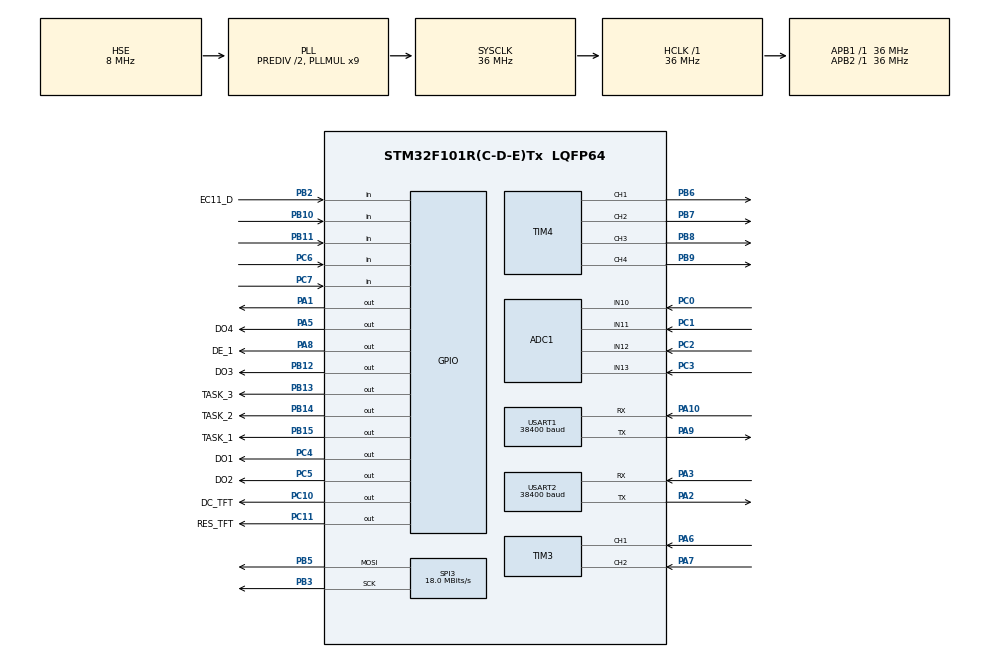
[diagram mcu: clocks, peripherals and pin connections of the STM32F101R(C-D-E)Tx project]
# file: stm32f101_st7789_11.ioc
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ADC1.Channel-8\#ChannelRegularConversion=ADC_CHANNEL_10
ADC1.ContinuousConvMode=ENABLE
ADC1.EnableInjectedConversion=DISABLE
ADC1.EnableRegularConversion=ENABLE
ADC1.InjNumberOfConversion=4
ADC1.NbrOfConversionFlag=1
ADC1.Rank-8\#ChannelRegularConversion=1
ADC1.SamplingTime-8\#ChannelRegularConversion=ADC_SAMPLETIME_1CYCLE_5
ADC1.master=1
Dma.Request0=USART2_RX
Dma.Request1=USART2_TX
Dma.Request2=SPI3_TX
Dma.SPI3_TX.2.Direction=DMA_MEMORY_TO_PERIPH
Dma.SPI3_TX.2.Instance=DMA2_Channel2
Dma.SPI3_TX.2.MemDataAlignment=DMA_MDATAALIGN_BYTE
Dma.SPI3_TX.2.MemInc=DMA_MINC_ENABLE
Dma.SPI3_TX.2.Mode=DMA_NORMAL
Dma.SPI3_TX.2.PeriphDataAlignment=DMA_PDATAALIGN_BYTE
Dma.SPI3_TX.2.PeriphInc=DMA_PINC_DISABLE
Dma.SPI3_TX.2.Priority=DMA_PRIORITY_LOW
Dma.USART2_RX.0.Direction=DMA_PERIPH_TO_MEMORY
Dma.USART2_RX.0.Instance=DMA1_Channel6
Dma.USART2_RX.0.MemDataAlignment=DMA_MDATAALIGN_BYTE
Dma.USART2_RX.0.MemInc=DMA_MINC_ENABLE
Dma.USART2_RX.0.Mode=DMA_NORMAL
Dma.USART2_RX.0.PeriphDataAlignment=DMA_PDATAALIGN_BYTE
Dma.USART2_RX.0.PeriphInc=DMA_PINC_DISABLE
Dma.USART2_RX.0.Priority=DMA_PRIORITY_LOW
Dma.USART2_TX.1.Direction=DMA_MEMORY_TO_PERIPH
Dma.USART2_TX.1.Instance=DMA1_Channel7
Dma.USART2_TX.1.MemDataAlignment=DMA_MDATAALIGN_BYTE
Dma.USART2_TX.1.MemInc=DMA_MINC_ENABLE
Dma.USART2_TX.1.Mode=DMA_NORMAL
Dma.USART2_TX.1.PeriphDataAlignment=DMA_PDATAALIGN_BYTE
Dma.USART2_TX.1.PeriphInc=DMA_PINC_DISABLE
Dma.USART2_TX.1.Priority=DMA_PRIORITY_LOW
FREERTOS.Tasks01=TFT_Task,0,256,Start_ST7789_Task,Default,NULL,Static,TFT_TaskBuffer,TFT_TaskControlBlock;EC11_Task,0,256,Start_EC11,Default,NULL,Static,EC11_TaskBuffer,EC11_TaskControlBlock;USART_2,0,128,StartUSART_2,Default,NULL,Static,USART_2Buffer,USART_2ControlBlock;AlgoritmTask,-3,512,StartAlgoritm,Default,NULL,Static,AlgoritmTaskBuffer,AlgoritmTaskControlBlock;USART_1,0,128,StartUSART_1,Default,NULL,Static,USART_1Buffer,USART_1ControlBlock
FREERTOS.Timers01=ModBus_Timeout,ModBus_TimeOut_Fun,osTimerOnce,Default,NULL,Dynamic,NULL
FREERTOS.configUSE_APPLICATION_TASK_TAG=1
FREERTOS.configUSE_IDLE_HOOK=1
FREERTOS.configUSE_NEWLIB_REENTRANT=1
FREERTOS.configUSE_TICKLESS_IDLE=1
FREERTOS.configUSE_TICK_HOOK=0
FREERTOS.configUSE_TIMERS=1
Mcu.Family=STM32F1
Mcu.Name=STM32F101R(C-D-E)Tx
Mcu.Package=LQFP64
NVIC.DMA1_Channel6_IRQn=true\:5\:0\:false\:false\:true\:true\:false\:true
NVIC.DMA1_Channel7_IRQn=true\:5\:0\:false\:false\:true\:true\:false\:true
NVIC.DMA2_Channel2_IRQn=true\:5\:0\:false\:false\:true\:true\:false\:true
NVIC.PriorityGroup=NVIC_PRIORITYGROUP_4
NVIC.SPI3_IRQn=true\:5\:0\:false\:false\:true\:true\:true\:true
NVIC.TIM6_IRQn=true\:5\:0\:false\:false\:true\:true\:true\:true
NVIC.TIM7_IRQn=true\:15\:0\:false\:false\:true\:false\:false\:true
NVIC.TimeBase=TIM7_IRQn
NVIC.TimeBaseIP=TIM7
NVIC.USART1_IRQn=true\:5\:0\:false\:false\:true\:true\:true\:true
NVIC.USART2_IRQn=true\:5\:0\:false\:false\:true\:true\:true\:true
PA1.Signal=GPIO_Output
PA10.Mode=Asynchronous
PA10.Signal=USART1_RX
PA13.Mode=Serial_Wire
PA13.Signal=SYS_JTMS-SWDIO
PA14.Mode=Serial_Wire
PA14.Signal=SYS_JTCK-SWCLK
PA2.Mode=Asynchronous
PA2.Signal=USART2_TX
PA3.Mode=Asynchronous
PA3.Signal=USART2_RX
PA5.GPIO_Label=DO4
PA5.Signal=GPIO_Output
PA6.Signal=S_TIM3_CH1
PA7.Signal=S_TIM3_CH2
PA8.GPIO_Label=DE_1
PA8.Signal=GPIO_Output
PA9.Mode=Asynchronous
PA9.Signal=USART1_TX
PB10.Signal=GPIO_Input
PB11.Signal=GPIO_Input
PB12.GPIO_Label=DO3
PB12.Signal=GPIO_Output
PB13.GPIO_Label=TASK_3
PB13.GPIO_Speed=GPIO_SPEED_FREQ_HIGH
PB13.PinState=GPIO_PIN_RESET
PB13.Signal=GPIO_Output
PB14.GPIO_Label=TASK_2
PB14.GPIO_Speed=GPIO_SPEED_FREQ_HIGH
PB14.PinState=GPIO_PIN_RESET
PB14.Signal=GPIO_Output
PB15.GPIO_Label=TASK_1
PB15.GPIO_Speed=GPIO_SPEED_FREQ_HIGH
PB15.PinState=GPIO_PIN_RESET
PB15.Signal=GPIO_Output
PB2.GPIO_Label=EC11_D
PB2.Signal=GPIO_Input
PB3.Mode=TX_Only_Simplex_Unidirect_Master
PB3.Signal=SPI3_SCK
PB5.Mode=TX_Only_Simplex_Unidirect_Master
PB5.Signal=SPI3_MOSI
PB6.Signal=S_TIM4_CH1
PB7.Signal=S_TIM4_CH2
PB8.Signal=S_TIM4_CH3
PB9.Signal=S_TIM4_CH4
PC0.Signal=ADCx_IN10
PC1.Signal=ADCx_IN11
PC10.GPIO_Label=DC_TFT
PC10.GPIO_Speed=GPIO_SPEED_FREQ_HIGH
PC10.PinState=GPIO_PIN_RESET
PC10.Signal=GPIO_Output
PC11.GPIO_Label=RES_TFT
PC11.GPIO_Speed=GPIO_SPEED_FREQ_HIGH
PC11.PinState=GPIO_PIN_RESET
PC11.Signal=GPIO_Output
PC14-OSC32_IN.Mode=LSE-External-Oscillator
PC14-OSC32_IN.Signal=RCC_OSC32_IN
PC15-OSC32_OUT.Mode=LSE-External-Oscillator
PC15-OSC32_OUT.Signal=RCC_OSC32_OUT
PC2.Signal=ADCx_IN12
PC3.Signal=ADCx_IN13
PC4.GPIO_Label=DO1
PC4.Signal=GPIO_Output
PC5.GPIO_Label=DO2
PC5.Signal=GPIO_Output
PC6.Signal=GPIO_Input
PC7.Signal=GPIO_Input
PD0-OSC_IN.Mode=HSE-External-Oscillator
PD0-OSC_IN.Signal=RCC_OSC_IN
PD1-OSC_OUT.Mode=HSE-External-Oscillator
PD1-OSC_OUT.Signal=RCC_OSC_OUT
ProjectManager.HeapSize=0x200
ProjectManager.StackSize=0x400
ProjectManager.TargetToolchain=STM32CubeIDE
RCC.ADCPresc=RCC_ADCPCLK2_DIV8
RCC.AHBFreq_Value=36000000
RCC.APB1Freq_Value=36000000
RCC.APB1TimFreq_Value=36000000
RCC.APB2Freq_Value=36000000
RCC.HCLKFreq_Value=36000000
RCC.HSEDivPLL=RCC_HSE_PREDIV_DIV2
RCC.PLLMUL=RCC_PLL_MUL9
RCC.PLLSourceVirtual=RCC_PLLSOURCE_HSE
RCC.RTCClockSelection=RCC_RTCCLKSOURCE_LSE
RCC.SYSCLKFreq_VALUE=36000000
RCC.SYSCLKSource=RCC_SYSCLKSOURCE_PLLCLK
SH.ADCx_IN10.0=ADC1_IN10,IN10
SH.ADCx_IN11.0=ADC1_IN11,IN11
SH.ADCx_IN12.0=ADC1_IN12,IN12
SH.ADCx_IN13.0=ADC1_IN13,IN13
SH.S_TIM3_CH1.0=TIM3_CH1,Encoder_Interface
SH.S_TIM3_CH2.0=TIM3_CH2,Encoder_Interface
SH.S_TIM4_CH1.0=TIM4_CH1,PWM Generation1 CH1
SH.S_TIM4_CH2.0=TIM4_CH2,PWM Generation2 CH2
SH.S_TIM4_CH3.0=TIM4_CH3,PWM Generation3 CH3
SH.S_TIM4_CH4.0=TIM4_CH4,PWM Generation4 CH4
SPI3.BaudRatePrescaler=SPI_BAUDRATEPRESCALER_2
SPI3.CLKPolarity=SPI_POLARITY_HIGH
SPI3.CalculateBaudRate=18.0 MBits/s
SPI3.DataSize=SPI_DATASIZE_8BIT
SPI3.Direction=SPI_DIRECTION_2LINES
SPI3.Mode=SPI_MODE_MASTER
SPI3.VirtualType=VM_MASTER
TIM4.Channel-PWM\ Generation1\ CH1=TIM_CHANNEL_1
TIM4.Channel-PWM\ Generation2\ CH2=TIM_CHANNEL_2
TIM4.Channel-PWM\ Generation3\ CH3=TIM_CHANNEL_3
TIM4.Channel-PWM\ Generation4\ CH4=TIM_CHANNEL_4
TIM6.AutoReloadPreload=TIM_AUTORELOAD_PRELOAD_ENABLE
TIM6.Period=1
TIM6.Prescaler=18000
TIM6.TIM_MasterOutputTrigger=TIM_TRGO_RESET
USART1.BaudRate=38400
USART1.VirtualMode=VM_ASYNC
USART2.BaudRate=38400
USART2.VirtualMode=VM_ASYNC
VP_FREERTOS_VS_CMSIS_V1.Mode=CMSIS_V1
VP_RTC_VS_RTC_Activate.Mode=RTC_Enabled
VP_SYS_VS_tim7.Mode=TIM7
VP_TIM6_VS_ClockSourceINT.Mode=Enable_Timer
VP_TIM6_VS_OPM.Mode=OPM_bit
board=custom

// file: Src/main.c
/* USER CODE BEGIN Header */
/**
  ******************************************************************************
  * @file           : main.c
  * @brief          : Main program body
  ******************************************************************************
  * @attention
  *
  * <h2><center>&copy; Copyright (c) 2023 STMicroelectronics.
  * All rights reserved.</center></h2>
  *
  * This software component is licensed by ST under BSD 3-Clause license,
  * the "License"; You may not use this file except in compliance with the
  * License. You may obtain a copy of the License at:
  *                        opensource.org/licenses/BSD-3-Clause
  *
  ******************************************************************************
  */
/* USER CODE END Header */
#include "main.h"
#include "cmsis_os.h"
#include "adc.h"
#include "dma.h"
#include "rtc.h"
#include "spi.h"
#include "tim.h"
#include "usart.h"
#include "gpio.h"

/* USER CODE BEGIN Includes */
#include <stdio.h>
#include "st7789.h"
#include "st7789_1.h"
#include "fonts.h"
#include "EC11.h"
#include "utils.h"
#include "usart1.h"

#include "Fan.hpp"
//#include "iwdg.h"
#include "app_globals.h"
/* USER CODE END Includes */

/* USER CODE BEGIN PV */

USART_ModBus USART1_Modbus; ///< структура для обмена по Modbus UART1 Slave
USART_ModBus USART2_Modbus; ///< структура для обмена по Modbus UART2 Master
uint8_t bound; ///< скорость обмена 0  - 9600; 1 - 19200;  x - 38400
ModbusHVACx  modbusHVAC1;                   ///< Структуры точек обмена Modbus для текущего HVAC

ModbusRTU_t modbus1;   ///< структура для обмена по Modbus UART1 Slave

uint16_t g_UpDate_Count;              ///< time update data on the screen

//uint8_t g_mask_Buttons;               ///< Mask buttons

volatile uint32_t g_mode_Menu;        ///< Текущее Словосостояние  Меню
volatile uint32_t g_mode_Menu_old;    ///< Прежнее Словосостояние  Меню

uint8_t g_change_Menu;                ///< if the Menu was changed?
s_Menu menu;                          ///< struct Menu
volatile statusMenu status_Menu;      ///< Структура статуса меню

uint8_t g_txBuf[64];  ///< буффер пакета  на передачу
uint8_t g_txPush = 0; ///< длинна пакета на передачу
uint8_t g_regs[0x3A0];   ///< глобальный массив регистров
uint8_t S_SLAVE_ADDRESS = 0x80; ///< адрес  контроллера
//uint8_t N_SAVED_REG=0xff;  // номер сохраняемого регистра  0xXX 0xXX
//                           //                             Adr  Bound
//volatile char strT1[32] = {0};

 uint16_t dimForChar[3850] = {0}; ///< массив одной строки символов для рисования
 uint8_t password[4] = {0};       ///< четыре цифры для ввода пароля 0x0000 - 0xFFFF
 uint16_t password_corect = 0x2020; ///< парооль user
 uint16_t password_admin =  0x2121;  ///< парооль admin
 /**
  * @brief 0 - пароль guest;
  * 1 - пароль user;
  * 2 - пароль admin
  */
 uint8_t password_OK = 0;

 /**
  * @brief  1- задача запущена
  * 1- задача запущена;
  */
 uint8_t uRunningTask = 0x00;     ///< Словосостояние запущеных задач; бит = 1 - задача запущена

 SemaphoreHandle_t gSensorMutex;

//HAL_SPI_StateTypeDef stateSPI3;
RTC_TimeTypeDef sTime = {0};        ///< Структура работы со временем
RTC_DateTypeDef DateTypeUpdate ={0};  ///< Структура работы с датой
/* USER CODE END PV */

void SystemClock_Config(void);
void MX_FREERTOS_Init(void);

int main(void)
{
  /* USER CODE BEGIN 1 */
  int result = add_numbers(10,  20);   // Тест ассемблерной функции
  /* USER CODE END 1 */

  /* MCU Configuration--------------------------------------------------------*/

  /* Reset of all peripherals, Initializes the Flash interface and the Systick. */
  HAL_Init();

  /* Configure the system clock */
  SystemClock_Config();

  /* Initialize all configured peripherals */
  MX_GPIO_Init();
  MX_DMA_Init();

  MX_SPI3_Init();
  MX_TIM3_Init();

  MX_USART2_UART_Init();
  MX_TIM4_Init();
  MX_ADC1_Init();
  MX_TIM6_Init();
  MX_RTC_Init();
  MX_USART1_UART_Init();
  /* USER CODE BEGIN 2 */

  // Переинициализация порта UART2
  uint32_t bound;
  //uint16_t typeBound_UART2 = (*((uint16_t*)(0x0803f000 + MODBUS_REG(REG_UNIT_TYPE)*256)));
  uint16_t typeBound_UART2 = (*((uint16_t*)(0x0803f000))) >> 8;
  if(typeBound_UART2 == 0x00) bound = 9600;
  else if(typeBound_UART2 == 0x01) bound = 19200;
  else bound = 38400;

  huart2.Init.BaudRate = bound;
  if(HAL_UART_DeInit(&huart2) != HAL_OK){
	  Error_Handler();
  }
  if(HAL_UART_Init(&huart2) != HAL_OK){
	  Error_Handler();
  }

  // Настройка ADC
  ADC1->CR2 |= ADC_CR1_SCAN;
  ADC1->CR2 |= ADC_CR2_CONT;
  ADC1->CR2 |= ADC_CR2_ADON;
//  ADC1->CR2 |= ADC_CR2_SWSTART;
//  ADC1->CR2 |= ADC_CR2_EXTSEL_0 | ADC_CR2_EXTSEL_1 | ADC_CR2_EXTSEL_2;
  ADC1->CR2 |= ADC_CR2_JEXTTRIG;
  ADC1->CR2 |= ADC_CR2_JEXTSEL_0 | ADC_CR2_JEXTSEL_1 | ADC_CR2_JEXTSEL_2;  // 111 - JSWSTART
  ADC1->SMPR1 |= 0x00000fff;  // SMP13[2:0] = 111, SMP12[2:0] = 111, SMP11[2:0] = 111, SMP10[2:0] = 111
  ADC1->JSQR |=  (0x03 << 20) | (0x0D << 15) | (0x0c << 10) | (0x0B << 5) | 0x0A;

  ADC1->CR2 &= ~ADC_CR2_DMA;
  //======================================
  // TIM4 CH3 CH4    TIM3 CH3 CH4
  //======================================
  // Enable ALT function GPIOB and TIM4
  RCC->APB2ENR |= RCC_APB2ENR_IOPBEN | RCC_APB2ENR_AFIOEN;
  RCC->APB1ENR |= RCC_APB1ENR_TIM4EN;

  // PB8  PB9  Configure pins as ALT function OUTPUT PUSH PULL 50MHz
  GPIOB->CRH |= GPIO_CRH_MODE8_0 | GPIO_CRH_MODE8_1 | GPIO_CRH_CNF8_1;
  GPIOB->CRH &= ~GPIO_CRH_CNF8_0;
  GPIOB->CRH |= GPIO_CRH_MODE9_0 | GPIO_CRH_MODE9_1 | GPIO_CRH_CNF9_1;
  GPIOB->CRH &= ~GPIO_CRH_CNF9_0;

  // PB6 PB7 Configure pins as ALT function OUTPUT PUSH PULL 50MHz
  GPIOB->CRL |= GPIO_CRL_MODE6_0 | GPIO_CRL_MODE6_1 | GPIO_CRL_CNF6_1;
  GPIOB->CRL &= ~GPIO_CRL_CNF6_0;
  GPIOB->CRL |= GPIO_CRL_MODE7_0 | GPIO_CRL_MODE7_1 | GPIO_CRL_CNF7_1;
  GPIOB->CRL &= ~GPIO_CRL_CNF7_0;

  // compare 1,2 output enable
  TIM4->CCER |= TIM_CCER_CC1E;
  TIM4->CCER |= TIM_CCER_CC2E;
  // compare 3,4 output enable
  TIM4->CCER |= TIM_CCER_CC3E;
  TIM4->CCER |= TIM_CCER_CC4E;

  // теневой регистр
  TIM4->CR1 |= TIM_CR1_ARPE;

  // PWM compare mode 2, TIMx_CNT<TIMx_CCR1 inactive
  TIM4->CCMR1 |= TIM_CCMR1_OC1M_1 | TIM_CCMR1_OC1M_2 | TIM_CCMR1_OC1PE;
  TIM4->CCMR1 |= TIM_CCMR1_OC2M_1 | TIM_CCMR1_OC2M_2 | TIM_CCMR1_OC2PE;

 TIM4->CCMR2 |= TIM_CCMR2_OC3M_1 | TIM_CCMR2_OC3M_2 | TIM_CCMR2_OC3PE;
 TIM4->CCMR2 |= TIM_CCMR2_OC4M_1 | TIM_CCMR2_OC4M_2 | TIM_CCMR2_OC4PE;

  TIM4->PSC = 35;
  TIM4->ARR = 100;

  TIM4->CCR1 = 0;
  TIM4->CCR2 = 0;
  TIM4->CCR3 = 0;
  TIM4->CCR4 = 0;

  TIM4->EGR |= TIM_EGR_UG;
  TIM4->CR1 |= TIM_CR1_CEN;

/*  GPIOC->CRH |= GPIO_CRH_MODE8_0 | GPIO_CRH_MODE8_1 | GPIO_CRH_CNF8_1;
  GPIOC->CRH &= ~GPIO_CRH_CNF8_0;
  GPIOC->CRH |= GPIO_CRH_MODE9_0 | GPIO_CRH_MODE9_1 | GPIO_CRH_CNF9_1;
  GPIOC->CRH &= ~GPIO_CRH_CNF9_0;
  // compare 3,4 output enable
  TIM3->CCER |= TIM_CCER_CC4E;
  TIM3->CCER |= TIM_CCER_CC3E;

  // теневой регистр
  TIM3->CR1 |= TIM_CR1_ARPE;

  TIM3->CCMR2 |= TIM_CCMR2_OC3M_1 | TIM_CCMR2_OC3M_2 | TIM_CCMR2_OC3PE;
  TIM3->CCMR2 |= TIM_CCMR2_OC4M_1 | TIM_CCMR2_OC4M_2 | TIM_CCMR2_OC4PE;

  TIM3->PSC = 35;
  TIM3->ARR = 100;

  TIM3->CCR3 = 0;
  TIM3->CCR4 = 0;

  TIM3->EGR |= TIM_EGR_UG;
  TIM3->CR1 |= TIM_CR1_CEN;*/

  //======================================
  // END    TIM4 CH3 CH4    TIM3 CH3 CH4
  //======================================

  //======================================
  // ADC
  //======================================
//  ADC1->CR2 |= ADC_CR2_RSTCAL;
//    while((ADC1->CR2 & ADC_CR2_RSTCAL));

 //   ADC1->CR2 |= ADC_CR2_CAL;
 //   while(ADC1->CR2 & ADC_CR2_CAL);
  //======================================
  // END ADC
  //======================================

  HAL_Delay(500);

 // stateSPI3 = HAL_SPI_GetState(SPI3);
 // HAL_StatusTypeDef result;
//  uint8_t buff_test[8] = {0x01, 0x03, 0x00, 0x00, 0x00, 0x01, 0x84, 0x0a};
//  result = HAL_DMA_Init(&hdma_spi3_tx);

  //uint16_t cr1 = ST7789_SPI_HAL.Instance->CR1;
  //uint16_t cr2 = ST7789_SPI_HAL.Instance->CR2;
  //uint16_t sr = ST7789_SPI_HAL.Instance->SR;
  //result = HAL_SPI_Transmit_DMA(&ST7789_SPI_HAL, buff_test, 8);
  //cr1 = ST7789_SPI_HAL.Instance->CR1;
  //cr2 = ST7789_SPI_HAL.Instance->CR2;
  //sr = ST7789_SPI_HAL.Instance->SR;
  //stateSPI3 = HAL_SPI_GetState(SPI3);

      ST7789_Init_u(); ///< �?нициализация дисплея

      ST7789_rotation_u(2); ///< ротация экрана
     // Тест вывода основных цветов
     //ST7789_FillScreen_u(BLACK);
     //ST7789_SetBL(100);

//     HAL_IWDG_Refresh(&hiwdg);
     IWDG->KR = 0x0000AAAAU;
     //HAL_Delay(2000);
     uint16_t color = RGB565(255, 0, 0);
     ST7789_FillScreen_u(color);
     HAL_Delay(200);
     color = RGB565(0, 255, 0);
     ST7789_FillScreen_u(color);
     HAL_Delay(200);
     color = RGB565(0, 0, 255);
     ST7789_FillScreen_u(color);
     HAL_Delay(200);
     color = RGB565(255, 255, 255);
     ST7789_FillScreen_u(color);
     HAL_Delay(200);

//     ST7789_DrawChar_u(10, 10, RGB565(0, 0, 0), RGB565(255, 0, 0), 1, &Font_16x28, 1, '1');
//     HAL_Delay(500);
//     ST7789_DrawChar_u(50, 10, RGB565(0, 0, 0), RGB565(0, 255, 0), 1, &Font_16x28, 2, '2');
//     HAL_Delay(500);
//     ST7789_DrawChar_u(100, 10, RGB565(0, 0, 0), RGB565(0, 0, 255), 1, &Font_16x28, 2, '3');
//     HAL_Delay(500);

     // староый вариант вывода логотипа
     /*
     ST7789_DrawImage_u(0, 0, 240, 120, logo);
     ST7789_DrawImage_u(0, 120, 240, 120, logo+0x7080);
     */
     // разархивируем часть массива
     // ...
     // CHECK_OK ST7789_Draw_ArchImage_u
     // вывод архивированого  изображения
///////////////     ST7789_Draw_ArchImage_u(0, 0, 240, 240, logo);

     HAL_Delay(2000);

  /* USER CODE END 2 */

  /* Call init function for freertos objects (in freertos.c) */
  MX_FREERTOS_Init();

  gSensorMutex = xSemaphoreCreateMutex();

  if(gSensorMutex == NULL)
  {
	  Error_Handler();
  }

  /* Start scheduler */
  osKernelStart();

  /* We should never get here as control is now taken by the scheduler */
  /* Infinite loop */
  while (1)
  {

  }
}

void SystemClock_Config(void)
{
  RCC_OscInitTypeDef RCC_OscInitStruct = {0};
  RCC_ClkInitTypeDef RCC_ClkInitStruct = {0};
  RCC_PeriphCLKInitTypeDef PeriphClkInit = {0};

  /** Initializes the RCC Oscillators according to the specified parameters
  * in the RCC_OscInitTypeDef structure.
  */
  RCC_OscInitStruct.OscillatorType = RCC_OSCILLATORTYPE_HSE|RCC_OSCILLATORTYPE_LSE;
  RCC_OscInitStruct.HSEState = RCC_HSE_ON;
  RCC_OscInitStruct.HSEPredivValue = RCC_HSE_PREDIV_DIV2;
  RCC_OscInitStruct.LSEState = RCC_LSE_ON;
  RCC_OscInitStruct.HSIState = RCC_HSI_ON;
  RCC_OscInitStruct.PLL.PLLState = RCC_PLL_ON;
  RCC_OscInitStruct.PLL.PLLSource = RCC_PLLSOURCE_HSE;
  RCC_OscInitStruct.PLL.PLLMUL = RCC_PLL_MUL9;
  if (HAL_RCC_OscConfig(&RCC_OscInitStruct) != HAL_OK)
  {
    Error_Handler();
  }
  /** Initializes the CPU, AHB and APB buses clocks
  */
  RCC_ClkInitStruct.ClockType = RCC_CLOCKTYPE_HCLK|RCC_CLOCKTYPE_SYSCLK
                              |RCC_CLOCKTYPE_PCLK1|RCC_CLOCKTYPE_PCLK2;
  RCC_ClkInitStruct.SYSCLKSource = RCC_SYSCLKSOURCE_PLLCLK;
  RCC_ClkInitStruct.AHBCLKDivider = RCC_SYSCLK_DIV1;
  RCC_ClkInitStruct.APB1CLKDivider = RCC_HCLK_DIV1;
  RCC_ClkInitStruct.APB2CLKDivider = RCC_HCLK_DIV1;

  if (HAL_RCC_ClockConfig(&RCC_ClkInitStruct, FLASH_LATENCY_1) != HAL_OK)
  {
    Error_Handler();
  }
  PeriphClkInit.PeriphClockSelection = RCC_PERIPHCLK_RTC|RCC_PERIPHCLK_ADC;
  PeriphClkInit.RTCClockSelection = RCC_RTCCLKSOURCE_LSE;
  PeriphClkInit.AdcClockSelection = RCC_ADCPCLK2_DIV8;
  if (HAL_RCCEx_PeriphCLKConfig(&PeriphClkInit) != HAL_OK)
  {
    Error_Handler();
  }
}

void HAL_TIM_PeriodElapsedCallback(TIM_HandleTypeDef *htim)
{
  if (htim->Instance == TIM7) {
    HAL_IncTick();
  }
}

void Error_Handler(void)
{
  __disable_irq();
  while (1)
  {
  }
}

/************************ (C) COPYRIGHT STMicroelectronics *****END OF FILE****/
